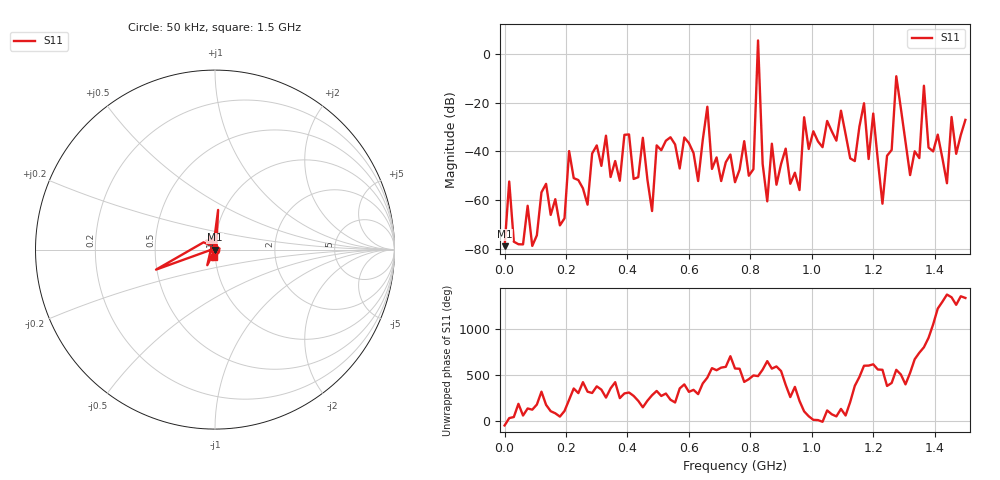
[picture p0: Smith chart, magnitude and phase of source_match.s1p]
! Created with skrf 1.8.0 (http://scikit-rf.org).
# Hz S RI R 50.0
!freq ReS11 ImS11
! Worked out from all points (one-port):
!   101 points, 50 kHz to 1.5 GHz, reference 50 ohm
!   lowest |S11| = -78.9 dB at 50 kHz (marker M1), VSWR 1.00, Z = 50 - j0.0085 ohm
!   |S11| at or under -10 dB: start of sweep to 820.6 MHz; 829.6 MHz to 1.275 GHz (445 MHz wide, 42.3 % of centre); 1.276 GHz to end of sweep
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50000  7.5e-05 -8.5e-05
1.50495e7  0.00204 0.00126
3.0049e7  0.000101 9.66e-05
1.950435e8  -0.000141 0.000398
2.10043e8  -0.00625 -0.00795
3.750375e8  -0.000854 -0.00234
3.90037e8  0.0113 -0.0187
5.70031e8  0.00444 -0.000351
6.30029e8  0.000976 -0.00226
6.60028e8  -0.0332 0.0752
6.750275e8  -0.00347 -0.00264
7.50025e8  -0.00194 -0.00128
8.10023e8  -0.00319 0.0029
8.250225e8  -1.217 1.435
8.550215e8  0.000381 -0.000862
8.70021e8  -0.0122 -0.0076
9.450185e8  0.00355 0.000791
9.60018e8  -0.00124 -0.00101
9.750175e8  -0.0131 0.0482
1.125012e9  -0.00638 -0.00331
1.20001e9  -0.0112 -0.0586
1.230009e9  -0.000794 -0.000281
1.275008e9  -0.3286 -0.1116
1.320006e9  -0.00315 0.000807
1.365004e9  0.0174 0.221
1.440002e9  0.00114 -0.0019
1.455002e9  0.000832 -0.0506
1.5e9  -0.00487 -0.0439
